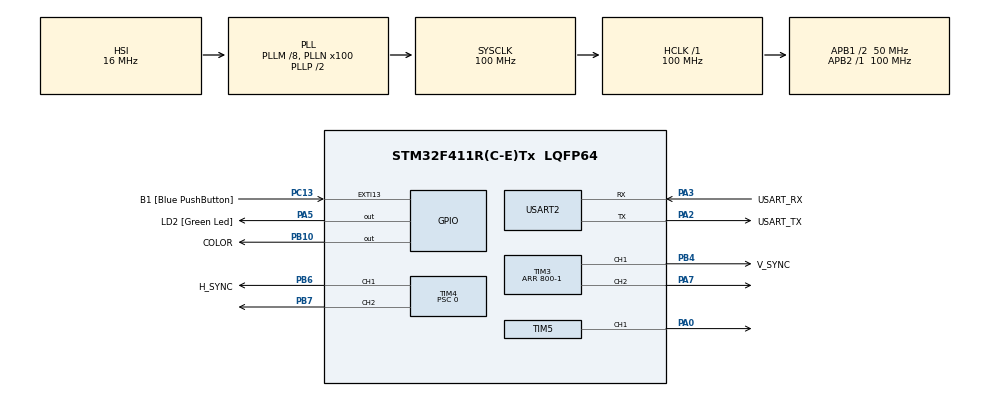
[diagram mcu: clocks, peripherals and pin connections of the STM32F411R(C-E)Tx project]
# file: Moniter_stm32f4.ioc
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Mcu.Family=STM32F4
Mcu.Name=STM32F411R(C-E)Tx
Mcu.Package=LQFP64
NVIC.PriorityGroup=NVIC_PRIORITYGROUP_0
NVIC.TIM3_IRQn=true\:0\:0\:false\:false\:true\:true\:true\:true
NVIC.TIM4_IRQn=true\:0\:0\:false\:false\:true\:true\:true\:true
NVIC.TIM5_IRQn=true\:0\:0\:false\:false\:true\:true\:true\:true
PA0-WKUP.Signal=S_TIM5_CH1
PA13.GPIO_Label=TMS
PA13.Mode=Serial_Wire
PA13.Signal=SYS_JTMS-SWDIO
PA14.GPIO_Label=TCK
PA14.Mode=Serial_Wire
PA14.Signal=SYS_JTCK-SWCLK
PA2.GPIO_Label=USART_TX
PA2.Mode=Asynchronous
PA2.Signal=USART2_TX
PA3.GPIO_Label=USART_RX
PA3.Mode=Asynchronous
PA3.Signal=USART2_RX
PA5.GPIO_Label=LD2 [Green Led]
PA5.Signal=GPIO_Output
PA7.Signal=S_TIM3_CH2
PB10.GPIO_Label=COLOR
PB10.Signal=GPIO_Output
PB3.GPIO_Label=SWO
PB3.Signal=SYS_JTDO-SWO
PB4.GPIO_Label=V_SYNC
PB4.Signal=S_TIM3_CH1
PB6.GPIO_Label=H_SYNC
PB6.Signal=S_TIM4_CH1
PB7.Signal=S_TIM4_CH2
PC13-ANTI_TAMP.GPIO_Label=B1 [Blue PushButton]
PC13-ANTI_TAMP.GPIO_ModeDefaultEXTI=GPIO_MODE_IT_FALLING
PC13-ANTI_TAMP.Signal=GPXTI13
PC14-OSC32_IN.Mode=LSE-External-Oscillator
PC14-OSC32_IN.Signal=RCC_OSC32_IN
PC15-OSC32_OUT.Mode=LSE-External-Oscillator
PC15-OSC32_OUT.Signal=RCC_OSC32_OUT
PH0\ -\ OSC_IN.Mode=HSE-External-Clock-Source
PH0\ -\ OSC_IN.Signal=RCC_OSC_IN
PH1\ -\ OSC_OUT.Mode=HSE-External-Clock-Source
PH1\ -\ OSC_OUT.Signal=RCC_OSC_OUT
ProjectManager.HeapSize=0x200
ProjectManager.StackSize=0x400
ProjectManager.TargetToolchain=STM32CubeIDE
RCC.48MHZClocksFreq_Value=50000000
RCC.AHBFreq_Value=100000000
RCC.APB1CLKDivider=RCC_HCLK_DIV2
RCC.APB1Freq_Value=50000000
RCC.APB1TimFreq_Value=100000000
RCC.APB2Freq_Value=100000000
RCC.APB2TimFreq_Value=100000000
RCC.CortexFreq_Value=100000000
RCC.FLatency-AdvancedSettings=FLASH_LATENCY_3
RCC.HCLKFreq_Value=100000000
RCC.HSE_VALUE=8000000
RCC.HSI_VALUE=16000000
RCC.PLLM=8
RCC.PLLN=100
RCC.SYSCLKFreq_VALUE=100000000
RCC.SYSCLKSource=RCC_SYSCLKSOURCE_PLLCLK
RCC.VCOOutputFreq_Value=200000000
SH.S_TIM3_CH1.0=TIM3_CH1,PWM Generation1 CH1
SH.S_TIM3_CH2.0=TIM3_CH2,Output Compare2 CH2
SH.S_TIM4_CH1.0=TIM4_CH1,PWM Generation1 CH1
SH.S_TIM4_CH2.0=TIM4_CH2,Output Compare2 CH2
SH.S_TIM5_CH1.0=TIM5_CH1,Output Compare1 CH1
TIM3.Channel-Output\ Compare2\ CH2=TIM_CHANNEL_2
TIM3.Channel-PWM\ Generation1\ CH1=TIM_CHANNEL_1
TIM3.OCMode_2=TIM_OCMODE_TIMING
TIM3.Period=800-1
TIM3.Pulse-Output\ Compare2\ CH2=103
TIM3.Pulse-PWM\ Generation1\ CH1=39
TIM3.TIM_MasterOutputTrigger=TIM_TRGO_UPDATE
TIM3.TIM_MasterSlaveMode=TIM_MASTERSLAVEMODE_ENABLE
TIM4.Channel-Output\ Compare2\ CH2=TIM_CHANNEL_2
TIM4.Channel-PWM\ Generation1\ CH1=TIM_CHANNEL_1
TIM4.OCMode_2=TIM_OCMODE_TIMING
TIM4.Period=448
TIM4.Prescaler=0
TIM4.Pulse-Output\ Compare2\ CH2=106
TIM4.Pulse-PWM\ Generation1\ CH1=2
TIM4.TIM_MasterOutputTrigger=TIM_TRGO_RESET
TIM4.TIM_MasterSlaveMode=TIM_MASTERSLAVEMODE_DISABLE
TIM5.Channel-Output\ Compare1\ CH1=TIM_CHANNEL_1
TIM5.OCMode_1=TIM_OCMODE_TIMING
TIM5.Period=4-1
TIM5.TIM_MasterOutputTrigger=TIM_TRGO_UPDATE
TIM5.TIM_MasterSlaveMode=TIM_MASTERSLAVEMODE_ENABLE
USART2.VirtualMode=VM_ASYNC
VP_TIM3_VS_ClockSourceITR.Mode=TriggerSource_ITR2
VP_TIM3_VS_ControllerModeClock.Mode=Clock Mode
VP_TIM4_VS_ClockSourceITR.Mode=TriggerSource_ITR2
VP_TIM4_VS_ControllerModeClock.Mode=Clock Mode
VP_TIM5_VS_ClockSourceINT.Mode=Internal
board=NUCLEO-F411RE

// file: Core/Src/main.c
/* USER CODE BEGIN Header */
/**
  ******************************************************************************
  * @file           : main.c
  * @brief          : Main program body
  ******************************************************************************
  * @attention
  *
  * Copyright (c) 2025 STMicroelectronics.
  * All rights reserved.
  *
  * This software is licensed under terms that can be found in the LICENSE file
  * in the root directory of this software component.
  * If no LICENSE file comes with this software, it is provided AS-IS.
  *
  ******************************************************************************
  */
/* USER CODE END Header */
#include "main.h"

TIM_HandleTypeDef htim3;
TIM_HandleTypeDef htim4;
TIM_HandleTypeDef htim5;

UART_HandleTypeDef huart2;

void SystemClock_Config(void);
static void MX_GPIO_Init(void);
static void MX_TIM3_Init(void);
static void MX_TIM4_Init(void);
static void MX_TIM5_Init(void);
static void MX_USART2_UART_Init(void);

/* USER CODE BEGIN 0 */
uint32_t pixel_reg = 0, h_reg = 0, v_reg = 0;
uint32_t tick_past = 0, tick_current = 0, tick_diff = 0;

void HAL_TIM_PeriodElapsedCallback(TIM_HandleTypeDef *htim){

}

void HAL_TIM_OC_DelayElapsedCallback(TIM_HandleTypeDef *htim){
	if(htim == &htim4){
		h_reg++;
	}else if(htim == &htim3){
		v_reg++;
	}
}

/* USER CODE END 0 */

int main(void)
{

  /* MCU Configuration--------------------------------------------------------*/

  /* Reset of all peripherals, Initializes the Flash interface and the Systick. */
  HAL_Init();

  /* Configure the system clock */
  SystemClock_Config();

  /* Initialize all configured peripherals */
  MX_GPIO_Init();
  MX_TIM3_Init();
  MX_TIM4_Init();
  MX_TIM5_Init();
  MX_USART2_UART_Init();
  /* USER CODE BEGIN 2 */

  HAL_TIM_Base_Start(&htim5);
  HAL_TIM_Base_Start_IT(&htim4);
  HAL_TIM_Base_Start_IT(&htim3);

  HAL_TIM_PWM_Start(&htim4, TIM_CHANNEL_1);
  HAL_TIM_PWM_Start(&htim5, TIM_CHANNEL_1);

  HAL_TIM_OC_Start_IT(&htim4, TIM_CHANNEL_2);
  HAL_TIM_OC_Start_IT(&htim3, TIM_CHANNEL_2);
  /* USER CODE END 2 */

  /* Infinite loop */
  while (1)
  {

  }
}

void SystemClock_Config(void)
{
  RCC_OscInitTypeDef RCC_OscInitStruct = {0};
  RCC_ClkInitTypeDef RCC_ClkInitStruct = {0};

  /** Configure the main internal regulator output voltage
  */
  __HAL_RCC_PWR_CLK_ENABLE();
  __HAL_PWR_VOLTAGESCALING_CONFIG(PWR_REGULATOR_VOLTAGE_SCALE1);

  /** Initializes the RCC Oscillators according to the specified parameters
  * in the RCC_OscInitTypeDef structure.
  */
  RCC_OscInitStruct.OscillatorType = RCC_OSCILLATORTYPE_HSI;
  RCC_OscInitStruct.HSIState = RCC_HSI_ON;
  RCC_OscInitStruct.HSICalibrationValue = RCC_HSICALIBRATION_DEFAULT;
  RCC_OscInitStruct.PLL.PLLState = RCC_PLL_ON;
  RCC_OscInitStruct.PLL.PLLSource = RCC_PLLSOURCE_HSI;
  RCC_OscInitStruct.PLL.PLLM = 8;
  RCC_OscInitStruct.PLL.PLLN = 100;
  RCC_OscInitStruct.PLL.PLLP = RCC_PLLP_DIV2;
  RCC_OscInitStruct.PLL.PLLQ = 4;
  if (HAL_RCC_OscConfig(&RCC_OscInitStruct) != HAL_OK)
  {
    Error_Handler();
  }

  /** Initializes the CPU, AHB and APB buses clocks
  */
  RCC_ClkInitStruct.ClockType = RCC_CLOCKTYPE_HCLK|RCC_CLOCKTYPE_SYSCLK
                              |RCC_CLOCKTYPE_PCLK1|RCC_CLOCKTYPE_PCLK2;
  RCC_ClkInitStruct.SYSCLKSource = RCC_SYSCLKSOURCE_PLLCLK;
  RCC_ClkInitStruct.AHBCLKDivider = RCC_SYSCLK_DIV1;
  RCC_ClkInitStruct.APB1CLKDivider = RCC_HCLK_DIV2;
  RCC_ClkInitStruct.APB2CLKDivider = RCC_HCLK_DIV1;

  if (HAL_RCC_ClockConfig(&RCC_ClkInitStruct, FLASH_LATENCY_3) != HAL_OK)
  {
    Error_Handler();
  }
}

static void MX_TIM3_Init(void)
{

  TIM_SlaveConfigTypeDef sSlaveConfig = {0};
  TIM_MasterConfigTypeDef sMasterConfig = {0};
  TIM_OC_InitTypeDef sConfigOC = {0};

  htim3.Instance = TIM3;
  htim3.Init.Prescaler = 0;
  htim3.Init.CounterMode = TIM_COUNTERMODE_UP;
  htim3.Init.Period = 800-1;
  htim3.Init.ClockDivision = TIM_CLOCKDIVISION_DIV1;
  htim3.Init.AutoReloadPreload = TIM_AUTORELOAD_PRELOAD_DISABLE;
  if (HAL_TIM_Base_Init(&htim3) != HAL_OK)
  {
    Error_Handler();
  }
  if (HAL_TIM_PWM_Init(&htim3) != HAL_OK)
  {
    Error_Handler();
  }
  if (HAL_TIM_OC_Init(&htim3) != HAL_OK)
  {
    Error_Handler();
  }
  sSlaveConfig.SlaveMode = TIM_SLAVEMODE_EXTERNAL1;
  sSlaveConfig.InputTrigger = TIM_TS_ITR2;
  if (HAL_TIM_SlaveConfigSynchro(&htim3, &sSlaveConfig) != HAL_OK)
  {
    Error_Handler();
  }
  sMasterConfig.MasterOutputTrigger = TIM_TRGO_UPDATE;
  sMasterConfig.MasterSlaveMode = TIM_MASTERSLAVEMODE_ENABLE;
  if (HAL_TIMEx_MasterConfigSynchronization(&htim3, &sMasterConfig) != HAL_OK)
  {
    Error_Handler();
  }
  sConfigOC.OCMode = TIM_OCMODE_PWM1;
  sConfigOC.Pulse = 39;
  sConfigOC.OCPolarity = TIM_OCPOLARITY_HIGH;
  sConfigOC.OCFastMode = TIM_OCFAST_DISABLE;
  if (HAL_TIM_PWM_ConfigChannel(&htim3, &sConfigOC, TIM_CHANNEL_1) != HAL_OK)
  {
    Error_Handler();
  }
  sConfigOC.OCMode = TIM_OCMODE_TIMING;
  sConfigOC.Pulse = 103;
  if (HAL_TIM_OC_ConfigChannel(&htim3, &sConfigOC, TIM_CHANNEL_2) != HAL_OK)
  {
    Error_Handler();
  }
  HAL_TIM_MspPostInit(&htim3);

}

static void MX_TIM4_Init(void)
{

  TIM_SlaveConfigTypeDef sSlaveConfig = {0};
  TIM_MasterConfigTypeDef sMasterConfig = {0};
  TIM_OC_InitTypeDef sConfigOC = {0};

  htim4.Instance = TIM4;
  htim4.Init.Prescaler = 0;
  htim4.Init.CounterMode = TIM_COUNTERMODE_UP;
  htim4.Init.Period = 448;
  htim4.Init.ClockDivision = TIM_CLOCKDIVISION_DIV1;
  htim4.Init.AutoReloadPreload = TIM_AUTORELOAD_PRELOAD_DISABLE;
  if (HAL_TIM_Base_Init(&htim4) != HAL_OK)
  {
    Error_Handler();
  }
  if (HAL_TIM_PWM_Init(&htim4) != HAL_OK)
  {
    Error_Handler();
  }
  if (HAL_TIM_OC_Init(&htim4) != HAL_OK)
  {
    Error_Handler();
  }
  sSlaveConfig.SlaveMode = TIM_SLAVEMODE_EXTERNAL1;
  sSlaveConfig.InputTrigger = TIM_TS_ITR2;
  if (HAL_TIM_SlaveConfigSynchro(&htim4, &sSlaveConfig) != HAL_OK)
  {
    Error_Handler();
  }
  sMasterConfig.MasterOutputTrigger = TIM_TRGO_RESET;
  sMasterConfig.MasterSlaveMode = TIM_MASTERSLAVEMODE_DISABLE;
  if (HAL_TIMEx_MasterConfigSynchronization(&htim4, &sMasterConfig) != HAL_OK)
  {
    Error_Handler();
  }
  sConfigOC.OCMode = TIM_OCMODE_PWM1;
  sConfigOC.Pulse = 2;
  sConfigOC.OCPolarity = TIM_OCPOLARITY_HIGH;
  sConfigOC.OCFastMode = TIM_OCFAST_DISABLE;
  if (HAL_TIM_PWM_ConfigChannel(&htim4, &sConfigOC, TIM_CHANNEL_1) != HAL_OK)
  {
    Error_Handler();
  }
  sConfigOC.OCMode = TIM_OCMODE_TIMING;
  sConfigOC.Pulse = 106;
  if (HAL_TIM_OC_ConfigChannel(&htim4, &sConfigOC, TIM_CHANNEL_2) != HAL_OK)
  {
    Error_Handler();
  }
  HAL_TIM_MspPostInit(&htim4);

}

static void MX_TIM5_Init(void)
{

  TIM_ClockConfigTypeDef sClockSourceConfig = {0};
  TIM_MasterConfigTypeDef sMasterConfig = {0};
  TIM_OC_InitTypeDef sConfigOC = {0};

  htim5.Instance = TIM5;
  htim5.Init.Prescaler = 0;
  htim5.Init.CounterMode = TIM_COUNTERMODE_UP;
  htim5.Init.Period = 4-1;
  htim5.Init.ClockDivision = TIM_CLOCKDIVISION_DIV1;
  htim5.Init.AutoReloadPreload = TIM_AUTORELOAD_PRELOAD_DISABLE;
  if (HAL_TIM_Base_Init(&htim5) != HAL_OK)
  {
    Error_Handler();
  }
  sClockSourceConfig.ClockSource = TIM_CLOCKSOURCE_INTERNAL;
  if (HAL_TIM_ConfigClockSource(&htim5, &sClockSourceConfig) != HAL_OK)
  {
    Error_Handler();
  }
  if (HAL_TIM_OC_Init(&htim5) != HAL_OK)
  {
    Error_Handler();
  }
  sMasterConfig.MasterOutputTrigger = TIM_TRGO_UPDATE;
  sMasterConfig.MasterSlaveMode = TIM_MASTERSLAVEMODE_ENABLE;
  if (HAL_TIMEx_MasterConfigSynchronization(&htim5, &sMasterConfig) != HAL_OK)
  {
    Error_Handler();
  }
  sConfigOC.OCMode = TIM_OCMODE_TIMING;
  sConfigOC.Pulse = 0;
  sConfigOC.OCPolarity = TIM_OCPOLARITY_HIGH;
  sConfigOC.OCFastMode = TIM_OCFAST_DISABLE;
  if (HAL_TIM_OC_ConfigChannel(&htim5, &sConfigOC, TIM_CHANNEL_1) != HAL_OK)
  {
    Error_Handler();
  }
  HAL_TIM_MspPostInit(&htim5);

}

static void MX_USART2_UART_Init(void)
{

  huart2.Instance = USART2;
  huart2.Init.BaudRate = 115200;
  huart2.Init.WordLength = UART_WORDLENGTH_8B;
  huart2.Init.StopBits = UART_STOPBITS_1;
  huart2.Init.Parity = UART_PARITY_NONE;
  huart2.Init.Mode = UART_MODE_TX_RX;
  huart2.Init.HwFlowCtl = UART_HWCONTROL_NONE;
  huart2.Init.OverSampling = UART_OVERSAMPLING_16;
  if (HAL_UART_Init(&huart2) != HAL_OK)
  {
    Error_Handler();
  }

}

static void MX_GPIO_Init(void)
{
  GPIO_InitTypeDef GPIO_InitStruct = {0};

  /* GPIO Ports Clock Enable */
  __HAL_RCC_GPIOC_CLK_ENABLE();
  __HAL_RCC_GPIOH_CLK_ENABLE();
  __HAL_RCC_GPIOA_CLK_ENABLE();
  __HAL_RCC_GPIOB_CLK_ENABLE();

  /*Configure GPIO pin Output Level */
  HAL_GPIO_WritePin(LD2_GPIO_Port, LD2_Pin, GPIO_PIN_RESET);

  /*Configure GPIO pin Output Level */
  HAL_GPIO_WritePin(COLOR_GPIO_Port, COLOR_Pin, GPIO_PIN_RESET);

  /*Configure GPIO pin : B1_Pin */
  GPIO_InitStruct.Pin = B1_Pin;
  GPIO_InitStruct.Mode = GPIO_MODE_IT_FALLING;
  GPIO_InitStruct.Pull = GPIO_NOPULL;
  HAL_GPIO_Init(B1_GPIO_Port, &GPIO_InitStruct);

  /*Configure GPIO pin : LD2_Pin */
  GPIO_InitStruct.Pin = LD2_Pin;
  GPIO_InitStruct.Mode = GPIO_MODE_OUTPUT_PP;
  GPIO_InitStruct.Pull = GPIO_NOPULL;
  GPIO_InitStruct.Speed = GPIO_SPEED_FREQ_LOW;
  HAL_GPIO_Init(LD2_GPIO_Port, &GPIO_InitStruct);

  /*Configure GPIO pin : COLOR_Pin */
  GPIO_InitStruct.Pin = COLOR_Pin;
  GPIO_InitStruct.Mode = GPIO_MODE_OUTPUT_PP;
  GPIO_InitStruct.Pull = GPIO_NOPULL;
  GPIO_InitStruct.Speed = GPIO_SPEED_FREQ_LOW;
  HAL_GPIO_Init(COLOR_GPIO_Port, &GPIO_InitStruct);

}

void Error_Handler(void)
{
  __disable_irq();
  while (1)
  {
  }
}
